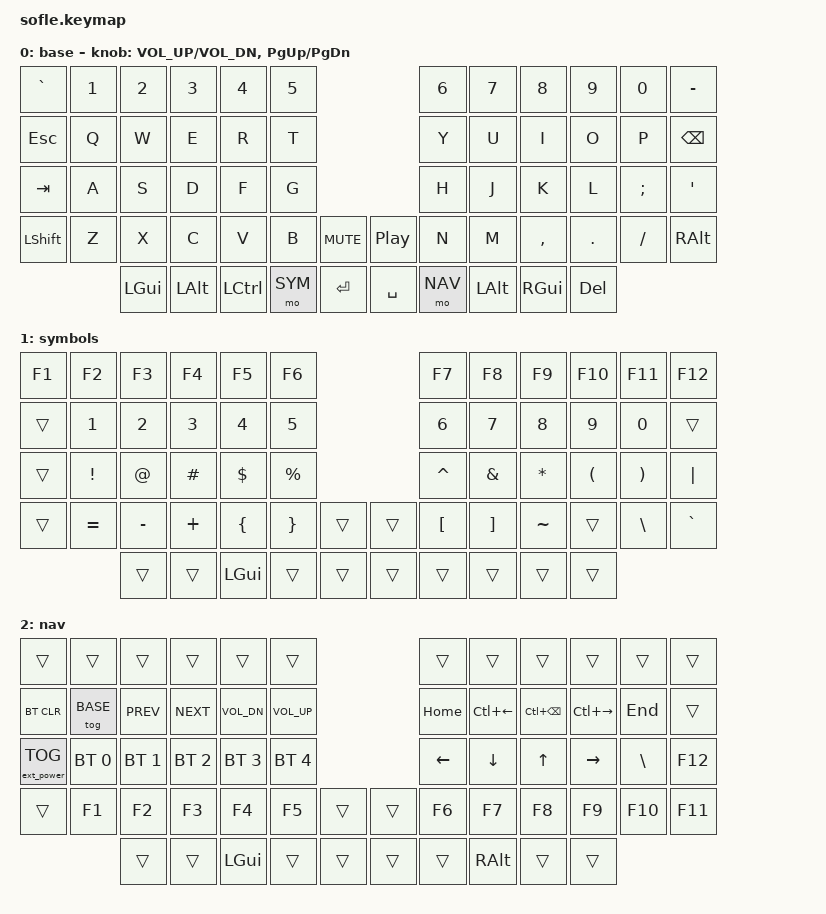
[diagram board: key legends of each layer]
/*
 * Copyright (c) 2020 The ZMK Contributors
 *
 * SPDX-License-Identifier: MIT
 */

// Ported from the Corne config: the 3x6 block and the inner three thumb keys
// match it key for key. The number row, encoder buttons and outer two thumb keys
// on each side only exist on the Sofle.

#include <behaviors.dtsi>
#include <dt-bindings/zmk/bt.h>
#include <dt-bindings/zmk/ext_power.h>
#include <dt-bindings/zmk/keys.h>

#define BASE 0
#define SYM 1
#define NAV 2

/ {
    combos {
        compatible = "zmk,combos";

        // Esc + Backspace: forget the currently selected Bluetooth device.
        clear_current_bt {
            bindings = <&bt BT_CLR>;
            key-positions = <12 23>;
        };
    };

    keymap {
        compatible = "zmk,keymap";

        default_layer {
            display-name = "base";
// -------------------------------------------------------------------------------------------------
// |   `   |  1  |  2  |  3   |  4   |  5   |                   |  6   |  7   |  8  |  9  |  0  |   -   |
// |  ESC  |  Q  |  W  |  E   |  R   |  T   |                   |  Y   |  U   |  I  |  O  |  P  | BSPC  |
// |  TAB  |  A  |  S  |  D   |  F   |  G   |                   |  H   |  J   |  K  |  L  |  ;  |   '   |
// | SHIFT |  Z  |  X  |  C   |  V   |  B   | MUTE |    | PLAY |  N   |  M   |  ,  |  .  |  /  | R-ALT |
//               | GUI | ALT  | CTRL | SYM  | ENTER|    | SPACE| NAV  | ALT  | GUI | DEL |
            bindings = <
&kp GRAVE &kp N1 &kp N2   &kp N3   &kp N4    &kp N5                            &kp N6    &kp N7   &kp N8    &kp N9   &kp N0   &kp MINUS
&kp ESC   &kp Q  &kp W    &kp E    &kp R     &kp T                             &kp Y     &kp U    &kp I     &kp O    &kp P    &kp BSPC
&kp TAB   &kp A  &kp S    &kp D    &kp F     &kp G                             &kp H     &kp J    &kp K     &kp L    &kp SEMI &kp SQT
&kp LSHFT &kp Z  &kp X    &kp C    &kp V     &kp B     &kp C_MUTE  &kp C_PP    &kp N     &kp M    &kp COMMA &kp DOT  &kp FSLH &kp RALT
                 &kp LGUI &kp LALT &kp LCTRL &mo SYM   &kp ENTER   &kp SPACE   &mo NAV   &kp LALT &kp RGUI  &kp DEL
            >;

            sensor-bindings = <&inc_dec_kp C_VOL_UP C_VOL_DN &inc_dec_kp PG_UP PG_DN>;
        };

        symbol_layer {
            display-name = "symbols";
// -------------------------------------------------------------------------------------------------
// |  F1   | F2  | F3  |  F4  |  F5  |  F6  |                   |  F7  |  F8  | F9  | F10 | F11 |  F12  |
// |  ESC  |  1  |  2  |  3   |  4   |  5   |                   |  6   |  7   |  8  |  9  |  0  | BSPC  |
// |  TAB  |  !  |  @  |  #   |  $   |  %   |                   |  ^   |  &   |  *  |  (  |  )  |   |   |
// | SHIFT |  =  |  -  |  +   |  {   |  }   |      |    |      |  [   |  ]   |  ~  |  .  |  \  |   `   |
//               |     |      | GUI  |      |      |    |      |      |      |     |     |
            bindings = <
&kp F1  &kp F2   &kp F3    &kp F4   &kp F5   &kp F6                       &kp F7    &kp F8   &kp F9    &kp F10  &kp F11  &kp F12
&trans  &kp N1   &kp N2    &kp N3   &kp N4   &kp N5                       &kp N6    &kp N7   &kp N8    &kp N9   &kp N0   &trans
&trans  &kp EXCL &kp AT    &kp HASH &kp DLLR &kp PRCNT                    &kp CARET &kp AMPS &kp ASTRK &kp LPAR &kp RPAR &kp PIPE
&trans  &kp EQUAL &kp MINUS &kp PLUS &kp LBRC &kp RBRC  &trans  &trans    &kp LBKT  &kp RBKT &kp TILDE &trans   &kp BSLH &kp GRAVE
                 &trans    &trans   &kp LGUI &trans    &trans  &trans    &trans    &trans   &trans    &trans
            >;
        };

        nav_layer {
            display-name = "nav";
// ---------------------------------------------------------------------------------------------------------
// |       |     |      |      |       |       |                  |      |       |        |       |     |      |
// | BTCLR |tog0 | PREV | NEXT | VOL-  | VOL+  |                  | HOME | ^LEFT | ^BSPC  |^RIGHT | END | BSPC |
// | EXTPWR| BT1 | BT2  | BT3  |  BT4  |  BT5  |                  | LEFT | DOWN  |   UP   | RIGHT |  \  | F12  |
// | SHIFT | F1  |  F2  |  F3  |  F4   |  F5   |      |    |      |  F6  |  F7   |   F8   |  F9   | F10 | F11  |
//               |      |      | GUI   |       |      |    |      |      | R-ALT |        |       |
            bindings = <
&trans            &trans        &trans        &trans        &trans        &trans                         &trans    &trans        &trans        &trans         &trans   &trans
&bt BT_CLR        &tog BASE     &kp C_PREV    &kp C_NEXT    &kp C_VOL_DN  &kp C_VOL_UP                   &kp HOME  &kp LC(LEFT)  &kp LC(BSPC)  &kp LC(RIGHT)  &kp END  &trans
&ext_power EP_TOG &bt BT_SEL 0  &bt BT_SEL 1  &bt BT_SEL 2  &bt BT_SEL 3  &bt BT_SEL 4                   &kp LEFT  &kp DOWN      &kp UP        &kp RIGHT      &kp BSLH &kp F12
&trans            &kp F1        &kp F2        &kp F3        &kp F4        &kp F5        &trans  &trans   &kp F6    &kp F7        &kp F8        &kp F9         &kp F10  &kp F11
                                &trans        &trans        &kp LGUI      &trans        &trans  &trans   &trans    &kp RALT      &trans        &trans
            >;
        };
    };
};
